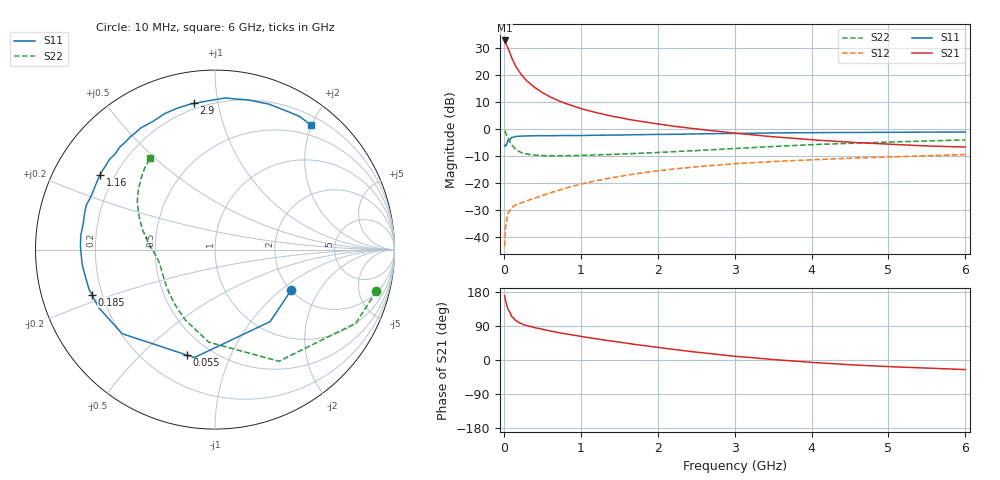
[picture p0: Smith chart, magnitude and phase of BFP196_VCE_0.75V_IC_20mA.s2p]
! Infineon Technologies  Discrete & RF Semiconductors
! BFP196
! VCE = 0.75V,  IC =  20mA
! Common Emitter S-Parameters:  Jan 2016
# GHz  S  MA  R  50
!  f  S11  S21  S12  S22
! GHz  MAG  ANG  MAG  ANG  MAG  ANG  MAG  ANG
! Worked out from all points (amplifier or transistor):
!   210 points, 10 MHz to 6 GHz, reference 50 ohm
!   highest |S21| = 32.8 dB at 10 MHz (marker M1)
!   |S21| within 3 dB of that: start of sweep to 55.85 MHz
!   unconditionally stable (mu >= 1): 597.3 MHz to end of sweep
!   at 185 MHz: K = 0.49, MSG = 24.9 dB, |S12| = -27.9 dB
!   at 1.52 GHz: K = 1.13, MAG = 8.6 dB, |S12| = -17.5 dB
!   at 6 GHz: K = 1.02, MAG = 0.5 dB, |S12| = -9.5 dB
!   S11 on the Smith chart (normalised r, x): 10 MHz: 2.00, -1.18; 55 MHz: 0.37, -0.70; 185 MHz: 0.16, -0.17; 1.16 GHz: 0.15, +0.29; 2.9 GHz: 0.17, +0.85; 6 GHz: 0.34, +2.00
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0.01  0.4807 -28.2  43.79 169.6  0.0067 81.0  0.9286 -14.5
0.02  0.5052 -52.6  41.14 158.6  0.0138 69.5  0.8853 -27.6
0.05  0.6122 -100.8  32.49 135.5  0.0264 52.3  0.7167 -60.2
0.055  0.6082 -104.8  31.22 134.1  0.0272 50.6  0.6887 -62.6
0.1  0.6979 -137.8  21.01 114.9  0.0348 39.2  0.5171 -93.8
0.15  0.7243 -153.5  14.88 104.6  0.0385 35.8  0.4257 -112.9
0.185  0.7306 -159.9  12.49 100.5  0.0404 35.9  0.3916 -121.6
0.2  0.736 -162.6  11.5 98.2  0.0412 36.0  0.3801 -125.7
0.26  0.7399 -170.1  8.94 93.2  0.0444 37.5  0.3522 -136.4
0.3  0.7446 -173.9  7.757 90.5  0.0465 38.9  0.3418 -141.3
0.4  0.7499 178.9  5.884 85.3  0.052 42.6  0.3271 -150.5
0.5  0.7521 173.8  4.717 80.9  0.058 45.3  0.3205 -156.6
0.6  0.7483 168.9  3.942 76.5  0.0653 48.0  0.3183 -160.6
0.8  0.7587 160.9  2.973 69.1  0.0796 49.5  0.3198 -166.2
1.02  0.7558 152.0  2.351 61.8  0.0961 50.6  0.324 -170.6
1.16  0.7634 147.1  2.079 57.3  0.1065 50.3  0.3285 -172.9
2.02  0.7936 120.8  1.223 32.8  0.1685 42.2  0.3672 175.5
2.9  0.8229 98.1  0.868 12.1  0.2213 30.8  0.4266 163.0
3.1  0.8279 93.9  0.812 8.3  0.2308 28.0  0.4409 160.1
4.1  0.855 75.7  0.617 -7.5  0.2719 16.0  0.518 146.4
5.1  0.8696 62.2  0.514 -18.3  0.3064 5.0  0.5766 135.1
6  0.8759 52.2  0.462 -25.3  0.335 -5.0  0.6255 125.1
